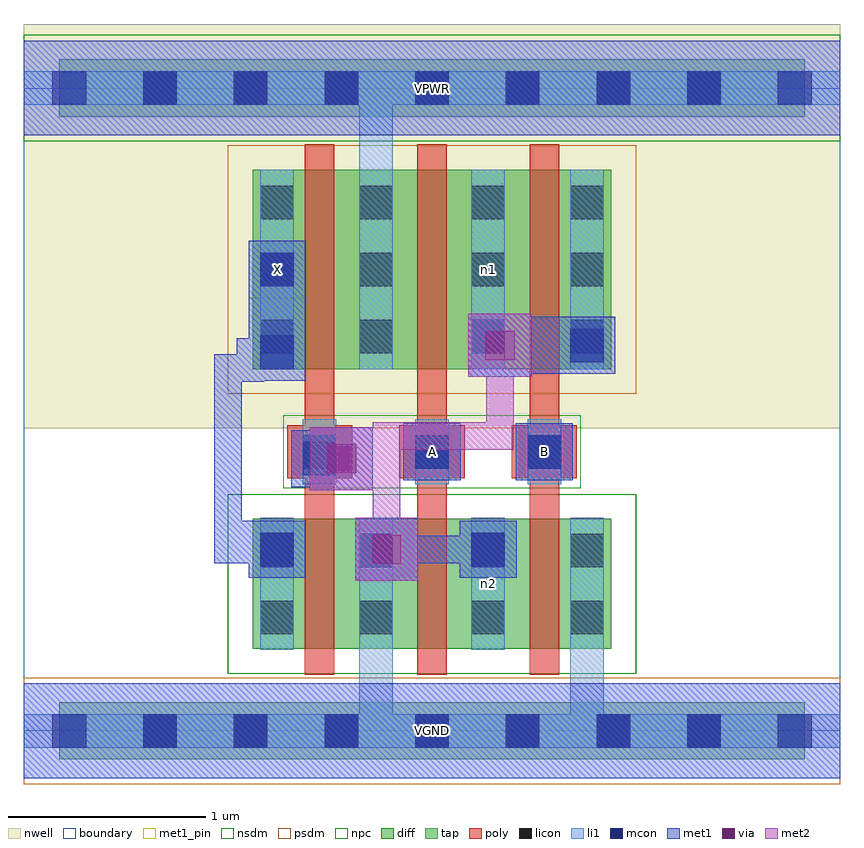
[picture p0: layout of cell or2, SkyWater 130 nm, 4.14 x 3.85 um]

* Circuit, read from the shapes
.subckt or2 A B VGND VPWR X n1 n2
XM1 VGND n2 X VGND sky130_fd_pr__nfet_01v8 w=0.66 l=0.15
XM2 n2 A VGND VGND sky130_fd_pr__nfet_01v8 w=0.66 l=0.15
XM3 VGND B n2 VGND sky130_fd_pr__nfet_01v8 w=0.66 l=0.15
XM4 VPWR n2 X VPWR sky130_fd_pr__pfet_01v8 w=1.01 l=0.15
XM5 n1 A VPWR VPWR sky130_fd_pr__pfet_01v8 w=1.01 l=0.15
XM6 n2 B n1 VPWR sky130_fd_pr__pfet_01v8 w=1.01 l=0.15
.ends

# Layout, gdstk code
import gdstk
lib = gdstk.Library(unit=1e-6, precision=1e-09)
def R(c, l, rs):  # rectangles x0, y0, x1, y1
    for r in rs: c.add(gdstk.rectangle(r[:2], r[2:], *l))
def A(c, l, x, y, w, h, nx, ny, dx, dy):  # array of equal rectangles
    R(c, l, [(x+i*dx, y+j*dy, x+i*dx+w, y+j*dy+h) for i in range(nx) for j in range(ny)])
nwell = (64, 20)
diff = (65, 20)
tap = (65, 44)
poly = (66, 20)
licon = (66, 44)
li1 = (67, 20)
mcon = (67, 44)
met1_pin = (68, 16)
met1 = (68, 20)
via = (68, 44)
met2 = (69, 20)
nsdm = (93, 44)
psdm = (94, 20)
npc = (95, 20)
boundary = (235, 4)

or2 = lib.new_cell('or2')
R(or2, nwell, [(0,1.535,4.14,3.585)])
R(or2, diff, [(1.16,0.415,2.98,1.075), (1.16,1.835,2.98,2.845)])
R(or2, tap, [(0.18,-0.145,3.96,0.145), (0.18,3.115,3.96,3.405)])
A(or2, poly, 1.425, 0.285, 0.15, 2.69, 3, 1, 0.57, 0)
A(or2, poly, 1.335, 1.28, 0.33, 0.27, 3, 1, 0.57, 0)
A(or2, licon, 0.605, -0.085, 0.17, 0.17, 7, 2, 0.46, 3.26)
A(or2, licon, 1.415, 1.33, 0.17, 0.17, 3, 1, 0.57, 0)
A(or2, licon, 1.2, 1.915, 0.17, 0.17, 1, 3, 0, 0.34)
A(or2, licon, 1.7, 1.915, 0.17, 0.17, 1, 3, 0, 0.34)
A(or2, licon, 2.27, 1.915, 0.17, 0.17, 1, 3, 0, 0.34)
A(or2, licon, 2.77, 1.915, 0.17, 0.17, 1, 3, 0, 0.34)
R(or2, licon, [(1.2,0.49,1.37,0.66), (1.7,0.49,1.87,0.66), (2.27,0.49,2.44,0.66), (2.77,0.49,2.94,0.66), (1.2,0.83,1.37,1), (1.7,0.83,1.87,1), (2.27,0.83,2.44,1), (2.77,0.83,2.94,1)])
A(or2, li1, 1.415, 1.25, 0.17, 0.33, 3, 1, 0.57, 0)
R(or2, li1, [(0,-0.085,4.14,0.085), (1.7,-0.085,1.87,1.08), (2.77,-0.085,2.94,1.08), (1.2,0.41,1.37,1.08), (1.7,0.41,1.87,1.08), (2.27,0.41,2.44,1.08), (2.77,0.41,2.94,1.08), (1.2,1.835,1.37,2.845), (1.7,1.835,1.87,2.845), (1.7,1.835,1.87,3.345), (2.27,1.835,2.44,2.845), (2.77,1.835,2.94,2.845), (0,3.175,4.14,3.345)])
A(or2, mcon, 0.145, -0.085, 0.17, 0.17, 9, 2, 0.46, 3.26)
R(or2, mcon, [(1.2,0.835,1.37,1.005), (2.27,0.835,2.44,1.005), (1.415,1.295,1.585,1.465), (1.985,1.33,2.155,1.5), (2.555,1.33,2.725,1.5), (1.2,1.835,1.37,2.005), (2.77,1.87,2.94,2.04), (1.2,2.255,1.37,2.425)])
R(or2, met1_pin, [(0,-0.24,4.14,0.24), (1.925,1.27,2.215,1.56), (2.495,1.27,2.785,1.56), (1.14,2.195,1.43,2.485), (0,3.02,4.14,3.5)])
R(or2, met1, [(0,-0.24,4.14,0.24), (1.68,0.76,2,1.08), (1.14,0.775,1.43,1.065), (2.21,0.775,2.5,1.065), (0.965,0.85,1.22,0.99), (0.965,0.85,1.105,1.91), (1.08,0.85,1.355,0.99), (1.105,0.85,1.14,1.065), (1.77,0.85,2.255,0.99), (2.115,0.85,2.425,0.99), (1.45,1.22,1.77,1.54), (1.355,1.235,1.645,1.525), (1.925,1.27,2.215,1.56), (2.495,1.27,2.785,1.56), (1.43,1.31,1.68,1.45), (0.965,1.77,1.22,1.91), (1.08,1.77,1.22,1.99), (1.14,1.775,1.43,2.065), (2.255,1.795,2.575,2.115), (2.575,1.81,2.71,2.1), (2.71,1.81,3,2.1), (1.08,1.85,1.355,1.99), (2.345,1.885,2.83,2.025), (2.69,1.885,2.925,2.025), (1.14,2.065,1.43,2.195), (1.14,2.195,1.43,2.485), (0,3.02,4.14,3.5)])
R(or2, via, [(1.765,0.845,1.915,0.995), (1.535,1.305,1.685,1.455), (2.34,1.88,2.49,2.03)])
R(or2, met2, [(1.68,0.76,2,1.08), (1.77,0.85,1.91,1.45), (1.45,1.22,1.77,1.54), (1.54,1.31,1.91,1.45), (1.77,1.31,1.91,1.565), (1.77,1.425,2.485,1.565), (2.345,1.425,2.485,2.025), (2.255,1.795,2.575,2.115)])
R(or2, nsdm, [(1.035,0.29,3.105,1.2), (0,2.99,4.14,3.53)])
R(or2, psdm, [(0,-0.27,4.14,0.27), (1.035,1.71,3.105,2.97)])
R(or2, npc, [(1.315,1.23,2.825,1.6)])
R(or2, boundary, [(0,0,4.14,3.26)])
or2.add(gdstk.Label('n2', (2.355,0.745), layer=67, texttype=5))
or2.add(gdstk.Label('n1', (2.355,2.34), layer=67, texttype=5))
or2.add(gdstk.Label('A', (2.07,1.415), layer=68, texttype=5))
or2.add(gdstk.Label('B', (2.64,1.415), layer=68, texttype=5))
or2.add(gdstk.Label('X', (1.285,2.34), layer=68, texttype=5))
or2.add(gdstk.Label('VPWR', (2.07,3.26), layer=68, texttype=5))
or2.add(gdstk.Label('VGND', (2.07,0), layer=68, texttype=5))
or2.add(gdstk.Label('A', (2.07,1.415), layer=68, texttype=16))
or2.add(gdstk.Label('B', (2.64,1.415), layer=68, texttype=16))
or2.add(gdstk.Label('X', (1.285,2.34), layer=68, texttype=16))
or2.add(gdstk.Label('VPWR', (2.07,3.26), layer=68, texttype=16))
or2.add(gdstk.Label('VGND', (2.07,0), layer=68, texttype=16))

lib.write_gds('or2.gds')
